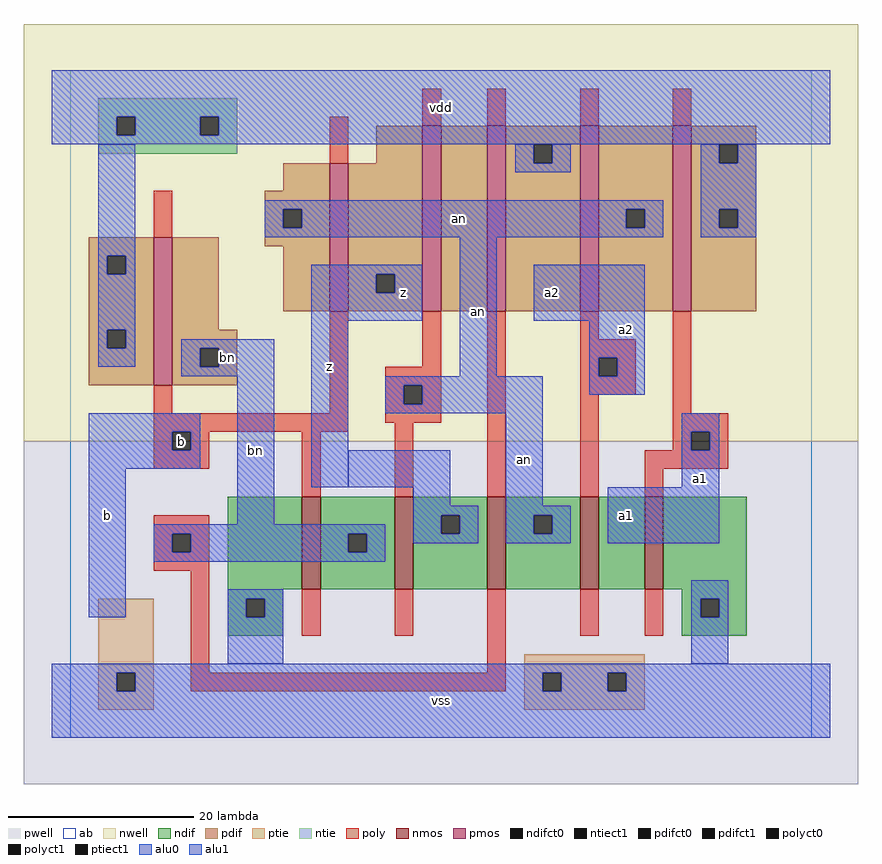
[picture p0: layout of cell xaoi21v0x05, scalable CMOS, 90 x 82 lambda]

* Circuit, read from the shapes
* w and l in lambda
.subckt xaoi21v0x05 a1 a2 an b bn vdd vss z
M1 bn b vss vss nfet w=10 l=2
M2 z an bn vss nfet w=10 l=2
M3 an bn z vss nfet w=10 l=2
M4 n1 a2 an vss nfet w=10 l=2
M5 vss a1 n1 vss nfet w=10 l=2
M6 bn b vdd vdd pfet w=16 l=2
M7 z b an vdd pfet w=16 l=2
M8 n2 an z vdd pfet w=20 l=2
M9 vdd bn n2 vdd pfet w=20 l=2
M10 an a2 vdd vdd pfet w=20 l=2
M11 vdd a1 an vdd pfet w=20 l=2
.ends

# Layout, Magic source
magic
tech scmos
<< ab >>
rect 0 0 80 72
<< nwell >>
rect -5 32 85 77
<< pwell >>
rect -5 -5 85 32
<< poly >>
rect 28 62 30 67
rect 38 66 40 70
rect 45 66 47 70
rect 55 66 57 70
rect 65 66 67 70
rect 9 54 11 59
rect 9 35 11 38
rect 28 35 30 46
rect 38 40 40 46
rect 9 33 30 35
rect 34 38 40 40
rect 34 36 36 38
rect 38 36 40 38
rect 34 34 40 36
rect 9 31 11 33
rect 13 31 15 33
rect 9 29 15 31
rect 25 26 27 33
rect 35 26 37 34
rect 45 26 47 46
rect 55 43 57 46
rect 55 41 61 43
rect 55 39 57 41
rect 59 39 61 41
rect 55 37 61 39
rect 55 26 57 37
rect 65 35 67 46
rect 65 33 71 35
rect 65 31 67 33
rect 69 31 71 33
rect 62 29 71 31
rect 62 26 64 29
rect 9 22 15 24
rect 9 20 11 22
rect 13 20 15 22
rect 9 18 15 20
rect 13 7 15 18
rect 25 11 27 16
rect 35 11 37 16
rect 45 7 47 16
rect 55 11 57 16
rect 62 11 64 16
rect 13 5 47 7
<< ndif >>
rect 17 16 25 26
rect 27 22 35 26
rect 27 20 30 22
rect 32 20 35 22
rect 27 16 35 20
rect 37 24 45 26
rect 37 22 40 24
rect 42 22 45 24
rect 37 16 45 22
rect 47 24 55 26
rect 47 22 50 24
rect 52 22 55 24
rect 47 16 55 22
rect 57 16 62 26
rect 64 16 73 26
rect 17 15 23 16
rect 17 13 19 15
rect 21 13 23 15
rect 17 11 23 13
rect 66 15 73 16
rect 66 13 68 15
rect 70 13 73 15
rect 66 11 73 13
<< pdif >>
rect 33 62 38 66
rect 23 59 28 62
rect 21 57 28 59
rect 21 55 23 57
rect 25 55 28 57
rect 2 52 9 54
rect 2 50 4 52
rect 6 50 9 52
rect 2 44 9 50
rect 2 42 4 44
rect 6 42 9 44
rect 2 38 9 42
rect 11 44 16 54
rect 21 53 28 55
rect 23 46 28 53
rect 30 50 38 62
rect 30 48 33 50
rect 35 48 38 50
rect 30 46 38 48
rect 40 46 45 66
rect 47 64 55 66
rect 47 62 50 64
rect 52 62 55 64
rect 47 46 55 62
rect 57 57 65 66
rect 57 55 60 57
rect 62 55 65 57
rect 57 46 65 55
rect 67 64 74 66
rect 67 62 70 64
rect 72 62 74 64
rect 67 57 74 62
rect 67 55 70 57
rect 72 55 74 57
rect 67 46 74 55
rect 11 42 18 44
rect 11 40 14 42
rect 16 40 18 42
rect 11 38 18 40
<< alu1 >>
rect -2 67 82 72
rect -2 65 5 67
rect 7 65 14 67
rect 16 65 82 67
rect -2 64 82 65
rect 26 50 38 51
rect 26 48 33 50
rect 35 48 38 50
rect 26 45 38 48
rect 2 33 14 35
rect 2 31 11 33
rect 13 31 14 33
rect 2 29 14 31
rect 2 13 6 29
rect 26 27 30 45
rect 50 45 62 51
rect 56 41 62 45
rect 56 39 57 41
rect 59 39 62 41
rect 56 37 62 39
rect 66 33 70 35
rect 66 31 67 33
rect 69 31 70 33
rect 66 27 70 31
rect 58 21 70 27
rect -2 7 82 8
rect -2 5 5 7
rect 7 5 51 7
rect 53 5 58 7
rect 60 5 82 7
rect -2 0 82 5
<< ptie >>
rect 3 7 9 15
rect 3 5 5 7
rect 7 5 9 7
rect 49 7 62 9
rect 49 5 51 7
rect 53 5 58 7
rect 60 5 62 7
rect 3 3 9 5
rect 49 3 62 5
<< ntie >>
rect 3 67 18 69
rect 3 65 5 67
rect 7 65 14 67
rect 16 65 18 67
rect 3 63 18 65
<< nmos >>
rect 25 16 27 26
rect 35 16 37 26
rect 45 16 47 26
rect 55 16 57 26
rect 62 16 64 26
<< pmos >>
rect 9 38 11 54
rect 28 46 30 62
rect 38 46 40 66
rect 45 46 47 66
rect 55 46 57 66
rect 65 46 67 66
<< polyct0 >>
rect 36 36 38 38
rect 11 20 13 22
<< polyct1 >>
rect 11 31 13 33
rect 57 39 59 41
rect 67 31 69 33
<< ndifct0 >>
rect 30 20 32 22
rect 40 22 42 24
rect 50 22 52 24
rect 19 13 21 15
rect 68 13 70 15
<< ntiect1 >>
rect 5 65 7 67
rect 14 65 16 67
<< ptiect1 >>
rect 5 5 7 7
rect 51 5 53 7
rect 58 5 60 7
<< pdifct0 >>
rect 23 55 25 57
rect 4 50 6 52
rect 4 42 6 44
rect 50 62 52 64
rect 60 55 62 57
rect 70 62 72 64
rect 70 55 72 57
rect 14 40 16 42
<< pdifct1 >>
rect 33 48 35 50
<< alu0 >>
rect 3 52 7 64
rect 48 62 50 64
rect 52 62 54 64
rect 48 61 54 62
rect 68 62 70 64
rect 72 62 74 64
rect 21 57 64 58
rect 21 55 23 57
rect 25 55 60 57
rect 62 55 64 57
rect 21 54 64 55
rect 68 57 74 62
rect 68 55 70 57
rect 72 55 74 57
rect 68 54 74 55
rect 3 50 4 52
rect 6 50 7 52
rect 3 44 7 50
rect 3 42 4 44
rect 6 42 7 44
rect 3 40 7 42
rect 12 42 22 43
rect 12 40 14 42
rect 16 40 22 42
rect 12 39 22 40
rect 18 23 22 39
rect 42 39 46 54
rect 34 38 51 39
rect 34 36 36 38
rect 38 36 51 38
rect 34 35 51 36
rect 30 27 41 31
rect 37 25 41 27
rect 47 25 51 35
rect 37 24 44 25
rect 9 22 34 23
rect 9 20 11 22
rect 13 20 30 22
rect 32 20 34 22
rect 37 22 40 24
rect 42 22 44 24
rect 37 21 44 22
rect 47 24 54 25
rect 47 22 50 24
rect 52 22 54 24
rect 47 21 54 22
rect 9 19 34 20
rect 17 15 23 16
rect 17 13 19 15
rect 21 13 23 15
rect 17 8 23 13
rect 67 15 71 17
rect 67 13 68 15
rect 70 13 71 15
rect 67 8 71 13
<< labels >>
rlabel alu0 20 31 20 31 6 bn
rlabel alu0 17 41 17 41 6 bn
rlabel alu0 49 30 49 30 6 an
rlabel alu0 44 46 44 46 6 an
rlabel alu0 42 56 42 56 6 an
rlabel polyct1 12 32 12 32 6 b
rlabel alu1 4 24 4 24 6 b
rlabel alu1 28 40 28 40 6 z
rlabel alu1 36 48 36 48 6 z
rlabel alu1 40 4 40 4 6 vss
rlabel alu1 52 48 52 48 6 a2
rlabel alu1 40 68 40 68 6 vdd
rlabel alu1 60 24 60 24 6 a1
rlabel alu1 68 28 68 28 6 a1
rlabel alu1 60 44 60 44 6 a2
<< end >>
